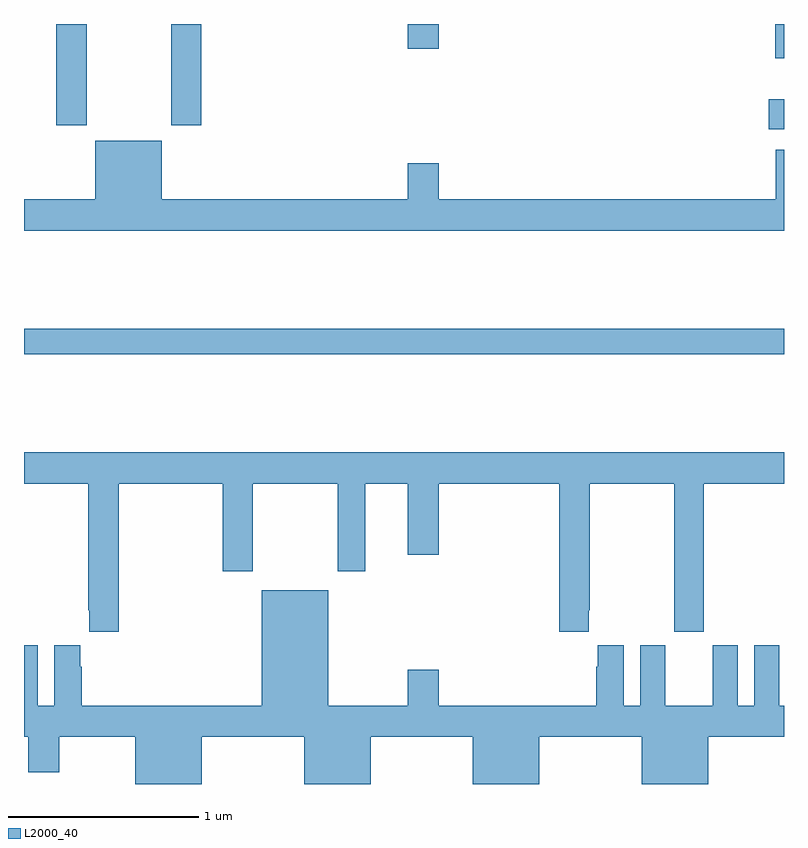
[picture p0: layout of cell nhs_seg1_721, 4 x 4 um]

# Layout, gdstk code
import gdstk
lib = gdstk.Library(unit=1e-6, precision=1e-09)
def R(c, l, rs):  # rectangles x0, y0, x1, y1
    for r in rs: c.add(gdstk.rectangle(r[:2], r[2:], *l))
def P(c, l, *ps):  # polygons
    for p in ps: c.add(gdstk.Polygon(p, *l))
L2000_40 = (2000, 40)

nhs_seg1_721 = lib.new_cell('nhs_seg1_721')
R(nhs_seg1_721, L2000_40, [(151,504.46,155,504.596), (154.92,505.646,155,505.804), (151.169,505.665,151.329,506.199), (151.774,505.665,151.934,506.199), (154.955,506.019,155,506.199), (153.02,506.07,153.184,506.199)])
P(nhs_seg1_721, L2000_40, [(155,505.537),(154.957,505.537),(154.957,505.276),(153.184,505.276),(153.184,505.465),(153.02,505.465),(153.02,505.276),(151.726,505.276),(151.726,505.585),(151.376,505.585),(151.376,505.276),(151,505.276),(151,505.112),(155,505.112)],
  [(151.499,503.78),(152.045,503.78),(152.045,503.319),(152.205,503.319),(152.205,503.78),(152.65,503.78),(152.65,503.319),(152.797,503.319),(152.797,503.78),(153.02,503.78),(153.02,503.406),(153.184,503.406),(153.184,503.78),(153.818,503.78),(153.818,503.001),(153.973,503.001),(153.973,503.113),(153.978,503.113),(153.978,503.78),(154.423,503.78),(154.423,503.001),(154.578,503.001),(154.578,503.78),(155,503.78),(155,503.944),(151,503.944),(151,503.78),(151.339,503.78),(151.339,503.113),(151.343,503.113),(151.343,503.001),(151.499,503.001)],
  [(151.304,502.817),(151.297,502.817),(151.297,502.93),(151.16,502.93),(151.16,502.612),(151.072,502.612),(151.072,502.93),(151,502.93),(151,502.448),(151.022,502.448),(151.022,502.26),(151.186,502.26),(151.186,502.448),(151.586,502.448),(151.586,502.199),(151.936,502.199),(151.936,502.448),(152.474,502.448),(152.474,502.199),(152.824,502.199),(152.824,502.448),(153.362,502.448),(153.362,502.199),(153.712,502.199),(153.712,502.448),(154.25,502.448),(154.25,502.199),(154.6,502.199),(154.6,502.448),(155,502.448),(155,502.612),(154.975,502.612),(154.975,502.93),(154.844,502.93),(154.844,502.612),(154.756,502.612),(154.756,502.93),(154.625,502.93),(154.625,502.612),(154.375,502.612),(154.375,502.93),(154.244,502.93),(154.244,502.612),(154.156,502.612),(154.156,502.93),(154.019,502.93),(154.019,502.817),(154.013,502.817),(154.013,502.612),(153.184,502.612),(153.184,502.801),(153.02,502.801),(153.02,502.612),(152.602,502.612),(152.602,503.218),(152.252,503.218),(152.252,502.612),(151.304,502.612)])

lib.write_gds('nhs_seg1_721.gds')
